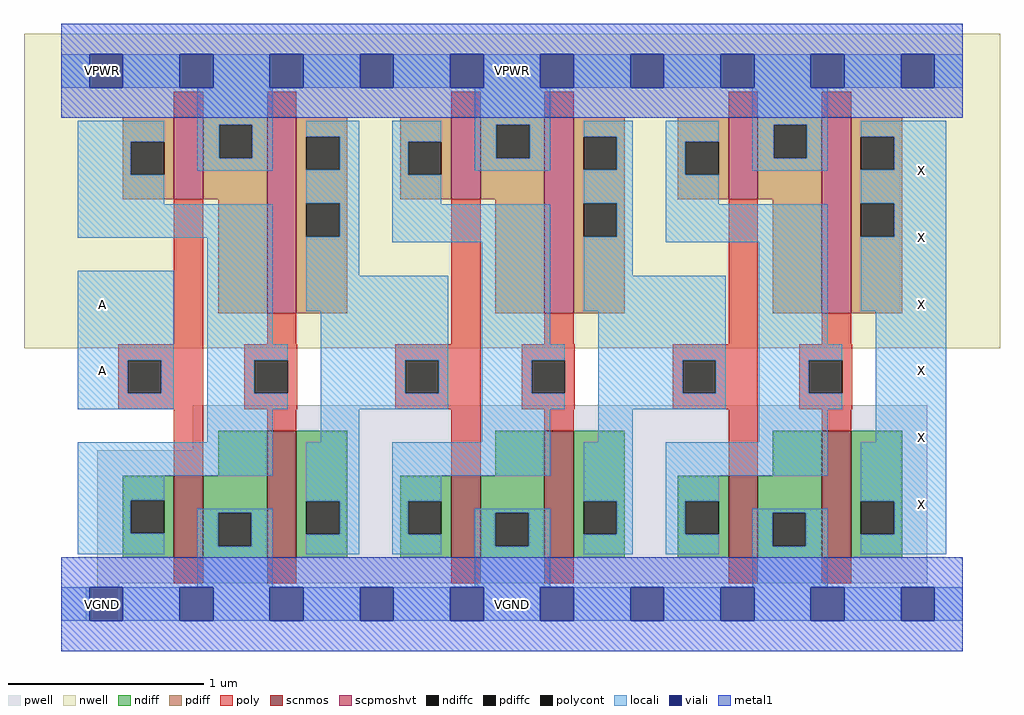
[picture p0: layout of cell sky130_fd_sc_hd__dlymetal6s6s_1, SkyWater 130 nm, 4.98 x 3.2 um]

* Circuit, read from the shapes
.subckt sky130_fd_sc_hd__dlymetal6s6s_1 A VGND VNB VPB VPWR X
XM1 VGND A n1 VNB sky130_fd_pr__nfet_01v8 w=0.42 l=0.15
XM2 n2 n1 VGND VNB sky130_fd_pr__nfet_01v8 w=0.65 l=0.15
XM3 VGND n2 n3 VNB sky130_fd_pr__nfet_01v8 w=0.42 l=0.15
XM4 n4 n3 VGND VNB sky130_fd_pr__nfet_01v8 w=0.65 l=0.15
XM5 VGND n4 n5 VNB sky130_fd_pr__nfet_01v8 w=0.42 l=0.15
XM6 X n5 VGND VNB sky130_fd_pr__nfet_01v8 w=0.65 l=0.15
XM7 VPWR A n1 VPB sky130_fd_pr__pfet_01v8_hvt w=0.42 l=0.15
XM8 n2 n1 VPWR VPB sky130_fd_pr__pfet_01v8_hvt w=1 l=0.15
XM9 VPWR n2 n3 VPB sky130_fd_pr__pfet_01v8_hvt w=0.42 l=0.15
XM10 n4 n3 VPWR VPB sky130_fd_pr__pfet_01v8_hvt w=1 l=0.15
XM11 VPWR n4 n5 VPB sky130_fd_pr__pfet_01v8_hvt w=0.42 l=0.15
XM12 X n5 VPWR VPB sky130_fd_pr__pfet_01v8_hvt w=1 l=0.15
.ends

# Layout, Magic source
magic
tech sky130A
magscale 1 2
<< nwell >>
rect -38 261 958 582
<< pwell >>
rect 134 157 884 203
rect 37 21 884 157
rect 37 17 59 21
rect 25 -17 59 17
<< scnmos >>
rect 115 47 145 131
rect 210 47 240 177
rect 398 47 428 131
rect 493 47 523 177
rect 681 47 711 131
rect 776 47 806 177
<< scpmoshvt >>
rect 115 413 145 497
rect 210 297 240 497
rect 398 413 428 497
rect 493 297 523 497
rect 681 413 711 497
rect 776 297 806 497
<< ndiff >>
rect 160 131 210 177
rect 63 106 115 131
rect 63 72 71 106
rect 105 72 115 106
rect 63 47 115 72
rect 145 93 210 131
rect 145 59 160 93
rect 194 59 210 93
rect 145 47 210 59
rect 240 105 292 177
rect 443 131 493 177
rect 240 71 250 105
rect 284 71 292 105
rect 240 47 292 71
rect 346 105 398 131
rect 346 71 354 105
rect 388 71 398 105
rect 346 47 398 71
rect 428 93 493 131
rect 428 59 443 93
rect 477 59 493 93
rect 428 47 493 59
rect 523 105 575 177
rect 726 131 776 177
rect 523 71 533 105
rect 567 71 575 105
rect 523 47 575 71
rect 629 105 681 131
rect 629 71 637 105
rect 671 71 681 105
rect 629 47 681 71
rect 711 93 776 131
rect 711 59 726 93
rect 760 59 776 93
rect 711 47 776 59
rect 806 105 858 177
rect 806 71 816 105
rect 850 71 858 105
rect 806 47 858 71
<< pdiff >>
rect 63 472 115 497
rect 63 438 71 472
rect 105 438 115 472
rect 63 413 115 438
rect 145 489 210 497
rect 145 455 161 489
rect 195 455 210 489
rect 145 413 210 455
rect 160 297 210 413
rect 240 477 292 497
rect 240 443 250 477
rect 284 443 292 477
rect 240 409 292 443
rect 346 472 398 497
rect 346 438 354 472
rect 388 438 398 472
rect 346 413 398 438
rect 428 489 493 497
rect 428 455 444 489
rect 478 455 493 489
rect 428 413 493 455
rect 240 375 250 409
rect 284 375 292 409
rect 240 297 292 375
rect 443 297 493 413
rect 523 477 575 497
rect 523 443 533 477
rect 567 443 575 477
rect 523 409 575 443
rect 629 472 681 497
rect 629 438 637 472
rect 671 438 681 472
rect 629 413 681 438
rect 711 489 776 497
rect 711 455 727 489
rect 761 455 776 489
rect 711 413 776 455
rect 523 375 533 409
rect 567 375 575 409
rect 523 297 575 375
rect 726 297 776 413
rect 806 477 858 497
rect 806 443 816 477
rect 850 443 858 477
rect 806 409 858 443
rect 806 375 816 409
rect 850 375 858 409
rect 806 297 858 375
<< ndiffc >>
rect 71 72 105 106
rect 160 59 194 93
rect 250 71 284 105
rect 354 71 388 105
rect 443 59 477 93
rect 533 71 567 105
rect 637 71 671 105
rect 726 59 760 93
rect 816 71 850 105
<< pdiffc >>
rect 71 438 105 472
rect 161 455 195 489
rect 250 443 284 477
rect 354 438 388 472
rect 444 455 478 489
rect 250 375 284 409
rect 533 443 567 477
rect 637 438 671 472
rect 727 455 761 489
rect 533 375 567 409
rect 816 443 850 477
rect 816 375 850 409
<< poly >>
rect 115 497 145 523
rect 210 497 240 523
rect 398 497 428 523
rect 493 497 523 523
rect 681 497 711 523
rect 776 497 806 523
rect 115 265 145 413
rect 210 265 240 297
rect 398 265 428 413
rect 493 265 523 297
rect 681 265 711 413
rect 776 265 806 297
rect 58 249 145 265
rect 58 215 68 249
rect 102 215 145 249
rect 58 199 145 215
rect 187 249 241 265
rect 187 215 197 249
rect 231 215 241 249
rect 187 199 241 215
rect 341 249 428 265
rect 341 215 351 249
rect 385 215 428 249
rect 341 199 428 215
rect 470 249 524 265
rect 470 215 480 249
rect 514 215 524 249
rect 470 199 524 215
rect 624 249 711 265
rect 624 215 634 249
rect 668 215 711 249
rect 624 199 711 215
rect 753 249 807 265
rect 753 215 763 249
rect 797 215 807 249
rect 753 199 807 215
rect 115 131 145 199
rect 210 177 240 199
rect 398 131 428 199
rect 493 177 523 199
rect 681 131 711 199
rect 776 177 806 199
rect 115 21 145 47
rect 210 21 240 47
rect 398 21 428 47
rect 493 21 523 47
rect 681 21 711 47
rect 776 21 806 47
<< polycont >>
rect 68 215 102 249
rect 197 215 231 249
rect 351 215 385 249
rect 480 215 514 249
rect 634 215 668 249
rect 763 215 797 249
<< locali >>
rect 0 527 29 561
rect 63 527 121 561
rect 155 527 213 561
rect 247 527 305 561
rect 339 527 397 561
rect 431 527 489 561
rect 523 527 581 561
rect 615 527 673 561
rect 707 527 765 561
rect 799 527 857 561
rect 891 527 920 561
rect 17 472 105 493
rect 17 438 71 472
rect 139 489 216 527
rect 139 455 161 489
rect 195 455 216 489
rect 139 442 216 455
rect 250 477 304 493
rect 284 443 304 477
rect 17 408 105 438
rect 250 409 304 443
rect 17 374 216 408
rect 17 249 115 340
rect 17 215 68 249
rect 102 215 115 249
rect 17 199 115 215
rect 149 265 216 374
rect 284 375 304 409
rect 250 335 304 375
rect 338 472 388 493
rect 338 438 354 472
rect 422 489 499 527
rect 422 455 444 489
rect 478 455 499 489
rect 422 442 499 455
rect 533 477 583 493
rect 567 443 583 477
rect 338 408 388 438
rect 533 409 583 443
rect 338 369 499 408
rect 250 299 395 335
rect 149 249 231 265
rect 149 215 197 249
rect 149 199 231 215
rect 265 249 395 299
rect 265 215 351 249
rect 385 215 395 249
rect 265 199 395 215
rect 429 265 499 369
rect 567 375 583 409
rect 533 335 583 375
rect 617 472 671 493
rect 617 438 637 472
rect 705 489 782 527
rect 705 455 727 489
rect 761 455 782 489
rect 705 442 782 455
rect 816 477 903 493
rect 850 443 903 477
rect 617 408 671 438
rect 816 409 903 443
rect 617 369 782 408
rect 533 299 678 335
rect 429 249 514 265
rect 429 215 480 249
rect 429 199 514 215
rect 548 249 678 299
rect 548 215 634 249
rect 668 215 678 249
rect 548 199 678 215
rect 712 265 782 369
rect 850 375 903 409
rect 816 299 903 375
rect 712 249 797 265
rect 712 215 763 249
rect 712 199 797 215
rect 149 165 216 199
rect 265 165 304 199
rect 429 165 499 199
rect 548 165 583 199
rect 712 165 782 199
rect 831 165 903 299
rect 17 131 216 165
rect 17 106 105 131
rect 17 72 71 106
rect 250 105 304 165
rect 17 51 105 72
rect 139 93 216 97
rect 139 59 160 93
rect 194 59 216 93
rect 139 17 216 59
rect 284 71 304 105
rect 250 51 304 71
rect 338 131 499 165
rect 338 105 388 131
rect 338 71 354 105
rect 533 105 583 165
rect 338 51 388 71
rect 422 93 499 97
rect 422 59 443 93
rect 477 59 499 93
rect 422 17 499 59
rect 567 71 583 105
rect 533 51 583 71
rect 617 131 782 165
rect 617 105 671 131
rect 617 71 637 105
rect 816 105 903 165
rect 617 51 671 71
rect 705 93 782 97
rect 705 59 726 93
rect 760 59 782 93
rect 705 17 782 59
rect 850 71 903 105
rect 816 51 903 71
rect 0 -17 29 17
rect 63 -17 121 17
rect 155 -17 213 17
rect 247 -17 305 17
rect 339 -17 397 17
rect 431 -17 489 17
rect 523 -17 581 17
rect 615 -17 673 17
rect 707 -17 765 17
rect 799 -17 857 17
rect 891 -17 920 17
<< viali >>
rect 29 527 63 561
rect 121 527 155 561
rect 213 527 247 561
rect 305 527 339 561
rect 397 527 431 561
rect 489 527 523 561
rect 581 527 615 561
rect 673 527 707 561
rect 765 527 799 561
rect 857 527 891 561
rect 29 -17 63 17
rect 121 -17 155 17
rect 213 -17 247 17
rect 305 -17 339 17
rect 397 -17 431 17
rect 489 -17 523 17
rect 581 -17 615 17
rect 673 -17 707 17
rect 765 -17 799 17
rect 857 -17 891 17
<< metal1 >>
rect 0 561 920 592
rect 0 527 29 561
rect 63 527 121 561
rect 155 527 213 561
rect 247 527 305 561
rect 339 527 397 561
rect 431 527 489 561
rect 523 527 581 561
rect 615 527 673 561
rect 707 527 765 561
rect 799 527 857 561
rect 891 527 920 561
rect 0 496 920 527
rect 0 17 920 48
rect 0 -17 29 17
rect 63 -17 121 17
rect 155 -17 213 17
rect 247 -17 305 17
rect 339 -17 397 17
rect 431 -17 489 17
rect 523 -17 581 17
rect 615 -17 673 17
rect 707 -17 765 17
rect 799 -17 857 17
rect 891 -17 920 17
rect 0 -48 920 -17
<< labels >>
flabel metal1 s 25 527 59 561 0 FreeSans 200 0 0 0 VPWR
port 5 nsew power bidirectional abutment
flabel metal1 s 25 -17 59 17 0 FreeSans 200 0 0 0 VGND
port 2 nsew ground bidirectional abutment
flabel nwell s 25 527 59 561 0 FreeSans 200 0 0 0 VPB
port 4 nsew power bidirectional
flabel pwell s 25 -17 59 17 0 FreeSans 200 0 0 0 VNB
port 3 nsew ground bidirectional
flabel locali s 25 221 59 255 0 FreeSans 200 0 0 0 A
port 1 nsew signal input
flabel locali s 861 289 895 323 0 FreeSans 200 0 0 0 X
port 6 nsew signal output
flabel locali s 25 289 59 323 0 FreeSans 200 0 0 0 A
port 1 nsew signal input
flabel locali s 861 357 895 391 0 FreeSans 200 0 0 0 X
port 6 nsew signal output
flabel locali s 861 425 895 459 0 FreeSans 200 0 0 0 X
port 6 nsew signal output
flabel locali s 861 221 895 255 0 FreeSans 200 0 0 0 X
port 6 nsew signal output
flabel locali s 861 153 895 187 0 FreeSans 200 0 0 0 X
port 6 nsew signal output
flabel locali s 861 85 895 119 0 FreeSans 200 0 0 0 X
port 6 nsew signal output
rlabel comment s 0 0 0 0 4 dlymetal6s6s_1
rlabel metal1 s 0 -48 920 48 1 VGND
port 2 nsew ground bidirectional abutment
rlabel metal1 s 0 496 920 592 1 VPWR
port 5 nsew power bidirectional abutment
<< properties >>
string FIXED_BBOX 0 0 920 544
string GDS_END 2917398
string GDS_FILE $PDKPATH/libs.ref/sky130_fd_sc_hd/gds/sky130_fd_sc_hd.gds
string GDS_START 2909874
string LEFclass CORE
string LEFsite unithd
string LEFsymmetry X Y R90
string path 0.000 13.600 23.000 13.600 
<< end >>
